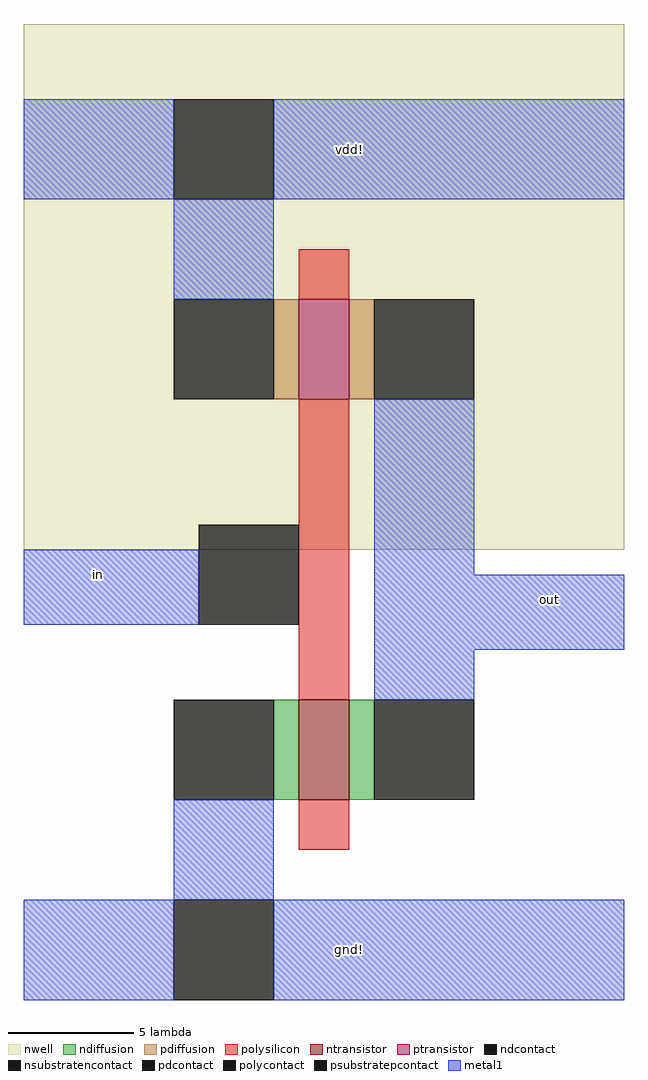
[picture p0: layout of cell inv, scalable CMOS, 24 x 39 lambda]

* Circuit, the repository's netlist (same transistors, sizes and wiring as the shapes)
* SPICE3 file created from inv.ext - technology: scmos

.option scale=0.1u

M1000 out in gnd gnd nfet w=4 l=2
+  ad=20 pd=18 as=20 ps=18
M1001 out in vdd vdd pfet w=4 l=2
+  ad=20 pd=18 as=20 ps=18

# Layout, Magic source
magic
tech scmos
<< nwell >>
rect -9 -3 15 18
<< ntransistor >>
rect 2 -13 4 -9
<< ptransistor >>
rect 2 3 4 7
<< ndiffusion >>
rect 1 -13 2 -9
rect 4 -13 5 -9
<< pdiffusion >>
rect 1 3 2 7
rect 4 3 5 7
<< ndcontact >>
rect -3 -13 1 -9
rect 5 -13 9 -9
<< pdcontact >>
rect -3 3 1 7
rect 5 3 9 7
<< psubstratepcontact >>
rect -3 -21 1 -17
<< nsubstratencontact >>
rect -3 11 1 15
<< polysilicon >>
rect 2 7 4 9
rect 2 -9 4 3
rect 2 -15 4 -13
<< polycontact >>
rect -2 -6 2 -2
<< metal1 >>
rect -9 11 -3 15
rect 1 11 15 15
rect -3 7 1 11
rect -9 -6 -2 -3
rect 5 -4 9 3
rect 5 -7 15 -4
rect 5 -9 9 -7
rect -3 -17 1 -13
rect -9 -21 -3 -17
rect 1 -21 15 -17
<< labels >>
rlabel metal1 4 13 4 13 5 vdd!
rlabel metal1 4 -19 4 -19 1 gnd!
rlabel metal1 12 -5 12 -5 7 out
rlabel metal1 -6 -4 -6 -4 3 in
<< end >>
